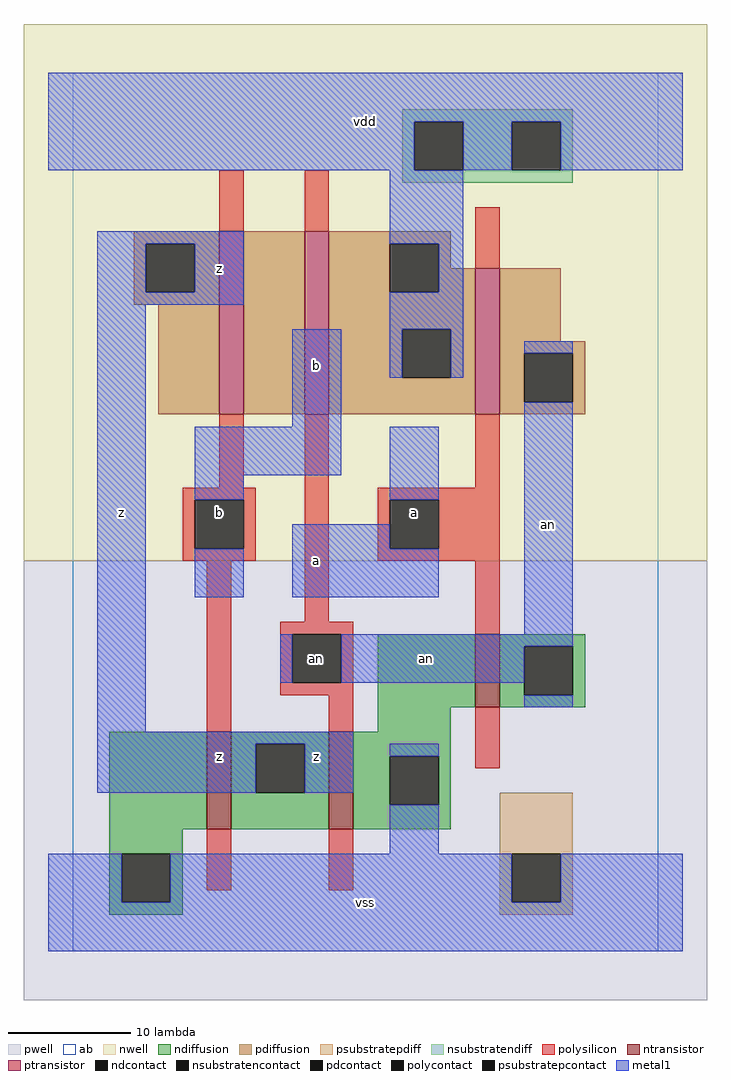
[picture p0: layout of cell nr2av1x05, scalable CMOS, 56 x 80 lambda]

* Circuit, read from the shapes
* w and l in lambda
.subckt nr2av1x05 a an b vdd vss z
M1 z b vss vss nfet w=8 l=2
M2 vss an z vss nfet w=8 l=2
M3 an a vss vss nfet w=6 l=2
M4 n1 b z vdd pfet w=15 l=2
M5 vdd an n1 vdd pfet w=15 l=2
M6 an a vdd vdd pfet w=12 l=2
.ends

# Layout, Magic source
magic
tech scmos
<< ab >>
rect 0 0 48 72
<< pwell >>
rect -4 -4 52 32
<< nwell >>
rect -4 32 52 76
<< polysilicon >>
rect 12 59 14 64
rect 19 59 21 64
rect 33 56 35 61
rect 12 38 14 44
rect 9 37 15 38
rect 9 33 10 37
rect 14 33 15 37
rect 9 32 15 33
rect 11 18 13 32
rect 19 27 21 44
rect 33 38 35 44
rect 25 37 35 38
rect 25 33 26 37
rect 30 33 35 37
rect 25 32 35 33
rect 17 26 23 27
rect 33 26 35 32
rect 17 22 18 26
rect 22 22 23 26
rect 17 21 23 22
rect 21 18 23 21
rect 33 15 35 20
rect 11 5 13 10
rect 21 5 23 10
<< ndiffusion >>
rect 25 20 33 26
rect 35 25 42 26
rect 35 21 37 25
rect 41 21 42 25
rect 35 20 42 21
rect 25 18 31 20
rect 3 10 11 18
rect 13 17 21 18
rect 13 13 15 17
rect 19 13 21 17
rect 13 10 21 13
rect 23 16 31 18
rect 23 12 26 16
rect 30 12 31 16
rect 23 10 31 12
rect 3 8 9 10
rect 3 4 4 8
rect 8 4 9 8
rect 3 3 9 4
<< pdiffusion >>
rect 5 58 12 59
rect 5 54 6 58
rect 10 54 12 58
rect 5 53 12 54
rect 7 44 12 53
rect 14 44 19 59
rect 21 58 31 59
rect 21 54 26 58
rect 30 56 31 58
rect 30 54 33 56
rect 21 51 33 54
rect 21 47 27 51
rect 31 47 33 51
rect 21 44 33 47
rect 35 50 40 56
rect 35 49 42 50
rect 35 45 37 49
rect 41 45 42 49
rect 35 44 42 45
<< metal1 >>
rect -2 68 50 72
rect -2 64 28 68
rect 32 64 36 68
rect 40 64 50 68
rect 2 58 14 59
rect 2 54 6 58
rect 10 54 14 58
rect 2 53 14 54
rect 26 58 32 64
rect 30 54 32 58
rect 2 18 6 53
rect 26 51 32 54
rect 18 43 22 51
rect 26 47 27 51
rect 31 47 32 51
rect 37 49 41 50
rect 10 39 22 43
rect 10 37 14 39
rect 26 37 30 43
rect 10 29 14 33
rect 18 33 26 35
rect 18 29 30 33
rect 37 26 41 45
rect 17 22 18 26
rect 22 25 41 26
rect 22 22 37 25
rect 37 20 41 21
rect 2 17 23 18
rect 2 13 15 17
rect 19 13 23 17
rect 26 16 30 17
rect 26 8 30 12
rect -2 4 4 8
rect 8 4 36 8
rect 40 4 50 8
rect -2 0 50 4
<< ntransistor >>
rect 33 20 35 26
rect 11 10 13 18
rect 21 10 23 18
<< ptransistor >>
rect 12 44 14 59
rect 19 44 21 59
rect 33 44 35 56
<< polycontact >>
rect 10 33 14 37
rect 26 33 30 37
rect 18 22 22 26
<< ndcontact >>
rect 37 21 41 25
rect 15 13 19 17
rect 26 12 30 16
rect 4 4 8 8
<< pdcontact >>
rect 6 54 10 58
rect 26 54 30 58
rect 27 47 31 51
rect 37 45 41 49
<< psubstratepcontact >>
rect 36 4 40 8
<< nsubstratencontact >>
rect 28 64 32 68
rect 36 64 40 68
<< psubstratepdiff >>
rect 35 8 41 13
rect 35 4 36 8
rect 40 4 41 8
rect 35 3 41 4
<< nsubstratendiff >>
rect 27 68 41 69
rect 27 64 28 68
rect 32 64 36 68
rect 40 64 41 68
rect 27 63 41 64
<< labels >>
rlabel polycontact 20 24 20 24 6 an
rlabel metal1 4 36 4 36 6 z
rlabel metal1 20 16 20 16 6 z
rlabel metal1 12 16 12 16 6 z
rlabel metal1 20 32 20 32 6 a
rlabel polycontact 12 36 12 36 6 b
rlabel metal1 20 48 20 48 6 b
rlabel metal1 12 56 12 56 6 z
rlabel metal1 24 4 24 4 6 vss
rlabel polycontact 28 36 28 36 6 a
rlabel metal1 24 68 24 68 6 vdd
rlabel metal1 29 24 29 24 6 an
rlabel metal1 39 35 39 35 6 an
<< end >>
